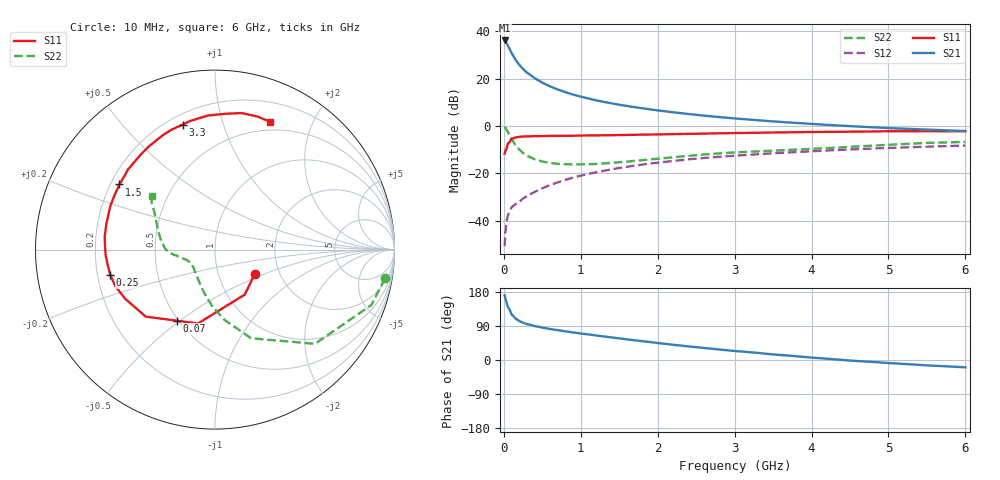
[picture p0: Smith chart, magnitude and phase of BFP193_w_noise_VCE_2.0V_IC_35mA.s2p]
! Infineon Technologies  Discrete & RF Semiconductors
! BFP193
! VCE =  2.0 V,  IC =  35 mA
! Common Emitter S-Parameters:  Jan 2017
# GHz  S  MA  R  50
!  f  S11  S21  S12  S22
! GHz  MAG  ANG  MAG  ANG  MAG  ANG  MAG  ANG
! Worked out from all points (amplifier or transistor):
!   77 points, 10 MHz to 6 GHz, reference 50 ohm
!   highest |S21| = 36.1 dB at 10 MHz (marker M1)
!   |S21| within 3 dB of that: start of sweep to 65.95 MHz
!   unconditionally stable (mu >= 1): 635.7 MHz to 2.562 GHz
!   at 130 MHz: K = 0.55, MSG = 31.4 dB, |S12| = -33.6 dB
!   at 2.2 GHz: K = 1.01, MAG = 9.6 dB, |S12| = -14.8 dB
!   at 6 GHz: K = 0.94, MSG = 3.1 dB, |S12| = -8.2 dB
!   lowest NFmin = 1.29 dB at 450 MHz
!   S11 on the Smith chart (normalised r, x): 10 MHz: 1.50, -0.43; 70 MHz: 0.49, -0.49; 250 MHz: 0.25, -0.11; 1.5 GHz: 0.24, +0.29; 3.3 GHz: 0.26, +0.74; 6 GHz: 0.40, +1.44
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0.01  0.2594 -31.0  64.04 170.8  0.0029 80.9  0.9604 -9.6
0.02  0.3007 -56.5  62.61 162.3  0.0056 75.9  0.9246 -19.5
0.05  0.4226 -103.0  51.02 140.7  0.0125 61.7  0.7654 -43.3
0.07  0.4493 -118.1  43.97 134.3  0.0151 59.1  0.6591 -51.0
0.1  0.5372 -136.0  34.89 120.3  0.0191 56.6  0.5331 -67.9
0.15  0.5713 -151.6  25.29 109.7  0.0223 54.8  0.396 -82.2
0.2  0.5915 -159.9  19.65 103.0  0.0249 57.2  0.3192 -92.3
0.25  0.6004 -166.3  15.97 98.2  0.0295 57.6  0.2695 -99.9
0.3  0.6025 -170.6  13.43 94.9  0.0328 59.3  0.2367 -106.6
0.4  0.6103 -177.2  10.22 89.5  0.0405 62.5  0.1984 -116.7
0.5  0.6133 177.7  8.208 85.4  0.0483 64.0  0.1778 -125.1
0.6  0.6184 173.4  6.881 81.9  0.0568 65.1  0.1667 -132.0
0.7  0.6194 169.9  5.908 78.8  0.0645 65.3  0.1584 -137.5
0.9  0.6235 163.0  4.606 72.7  0.0812 65.0  0.155 -145.5
1.1  0.6319 157.1  3.8 67.4  0.0976 63.7  0.1564 -151.7
1.5  0.6444 145.7  2.812 57.1  0.1299 59.7  0.1716 -161.1
2.1  0.6683 129.6  2.041 42.6  0.1754 52.4  0.2112 -170.0
3.1  0.7128 108.1  1.403 22.2  0.2414 39.4  0.2815 177.4
3.3  0.7199 104.5  1.324 18.7  0.2531 37.1  0.2912 174.4
4.1  0.7493 91.5  1.083 4.9  0.2979 27.5  0.3351 161.1
5.1  0.7748 77.7  0.89 -9.2  0.3481 16.0  0.4087 146.8
6  0.7758 66.6  0.782 -19.4  0.3871 5.9  0.4608 139.6
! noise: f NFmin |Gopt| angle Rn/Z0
0.45  1.29  0.37  -172  0.08
0.9  1.35  0.4  -169  0.08
1.9  1.95  0.58  -135  0.18
2.4  2.29  0.62  -120  0.4
